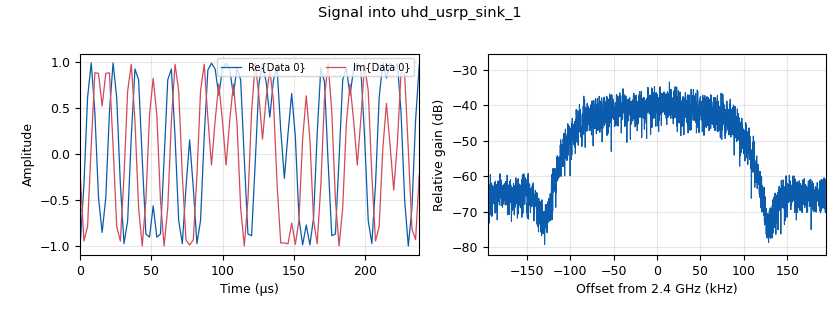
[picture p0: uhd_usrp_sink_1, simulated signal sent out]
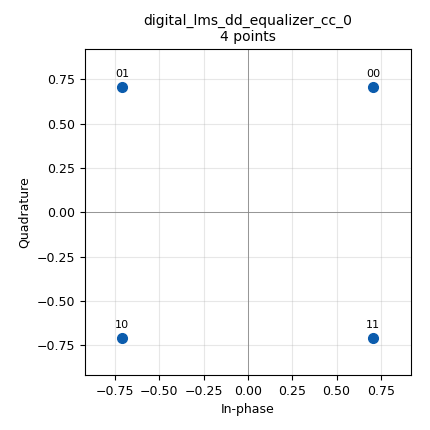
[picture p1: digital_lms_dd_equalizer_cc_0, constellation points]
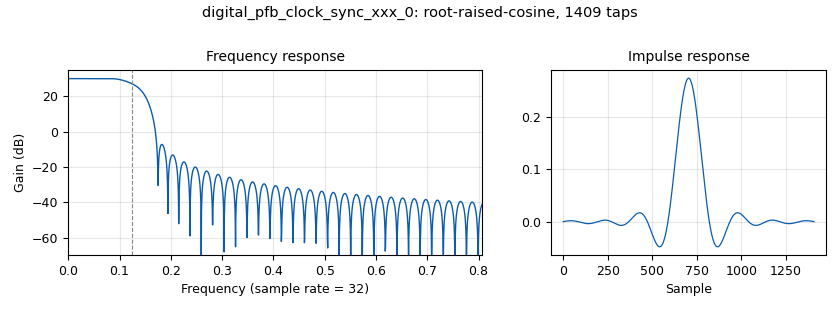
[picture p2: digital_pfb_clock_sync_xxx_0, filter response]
<?xml version='1.0' encoding='utf-8'?>
<flow_graph>
<block>
<key>options</key>
<param><key>id</key><value>cr_application</value></param>
<param><key>generate_options</key><value>qt_gui</value></param>
<param><key>category</key><value>Custom</value></param>
</block>
<block>
<key>variable</key>
<param><key>id</key><value>samp_rate</value></param>
<param><key>value</key><value>390625</value></param>
</block>
<block>
<key>variable</key>
<param><key>id</key><value>phase_bw</value></param>
<param><key>value</key><value>6.28/100</value></param>
</block>
<block>
<key>variable</key>
<param><key>id</key><value>sps</value></param>
<param><key>value</key><value>4</value></param>
</block>
<block>
<key>variable</key>
<param><key>id</key><value>excess_bw</value></param>
<param><key>value</key><value>0.35</value></param>
</block>
<block>
<key>variable</key>
<param><key>id</key><value>timing_loop_bw</value></param>
<param><key>value</key><value>6.28/100</value></param>
</block>
<block>
<key>variable</key>
<param><key>id</key><value>rrc_taps</value></param>
<param><key>value</key><value>firdes.root_raised_cosine(nfilts, nfilts, 1.0/float(sps), 0.35, 11*sps*nfilts)</value></param>
</block>
<block>
<key>variable</key>
<param><key>id</key><value>nfilts</value></param>
<param><key>value</key><value>32</value></param>
</block>
<block>
<key>variable</key>
<param><key>id</key><value>eq_gain</value></param>
<param><key>value</key><value>0.01</value></param>
</block>
<block>
<key>variable</key>
<param><key>id</key><value>arity</value></param>
<param><key>value</key><value>4</value></param>
</block>
<block>
<key>variable</key>
<param><key>id</key><value>taps</value></param>
<param><key>value</key><value>[1.0, 0.25-0.25j, 0.50 + 0.10j, -0.3 + 0.2j]</value></param>
</block>
<block>
<key>variable_constellation_rect</key>
<param><key>id</key><value>qpsk</value></param>
<param><key>value</key><value>"ok"</value></param>
<param><key>sym_map</key><value>[0, 1, 2, 3]</value></param>
<param><key>const_points</key><value>[0.707+0.707j, -0.707+0.707j, -0.707-0.707j, 0.707-0.707j]</value></param>
<param><key>rot_sym</key><value>4</value></param>
<param><key>real_sect</key><value>2</value></param>
<param><key>imag_sect</key><value>2</value></param>
<param><key>w_real_sect</key><value>1</value></param>
<param><key>w_imag_sect</key><value>1</value></param>
<param><key>softbits_lut</key><value>None</value></param>
</block>
<block>
<key>digital_costas_loop_cc</key>
<param><key>id</key><value>digital_costas_loop_cc_0</value></param>
<param><key>w</key><value>phase_bw</value></param>
<param><key>order</key><value>arity</value></param>
</block>
<block>
<key>digital_lms_dd_equalizer_cc</key>
<param><key>id</key><value>digital_lms_dd_equalizer_cc_0</value></param>
<param><key>mu</key><value>0.02</value></param>
<param><key>num_taps</key><value>20</value></param>
<param><key>sps</key><value>2</value></param>
<param><key>cnst</key><value>qpsk</value></param>
</block>
<block>
<key>digital_constellation_modulator</key>
<param><key>id</key><value>digital_constellation_modulator_0</value></param>
<param><key>constellation</key><value>qpsk</value></param>
<param><key>differential</key><value>True</value></param>
<param><key>samples_per_symbol</key><value>4</value></param>
<param><key>excess_bw</key><value>0.35</value></param>
</block>
<block>
<key>blocks_vector_source_x</key>
<param><key>id</key><value>blocks_vector_source_x_0_0</value></param>
<param><key>type</key><value>byte</value></param>
<param><key>vector</key><value>(170,170)</value></param>
<param><key>repeat</key><value>True</value></param>
</block>
<block>
<key>uhd_usrp_sink</key>
<param><key>id</key><value>uhd_usrp_sink_0</value></param>
<param><key>type</key><value>fc32</value></param>
<param><key>dev_addr</key><value>addr=192.168.20.2</value></param>
<param><key>sync</key><value></value></param>
<param><key>clock_rate</key><value>0.0</value></param>
<param><key>samp_rate</key><value>samp_rate</value></param>
<param><key>center_freq0</key><value>usrp_rf_freq</value></param>
<param><key>gain0</key><value>10</value></param>
<param><key>ant0</key><value></value></param>
</block>
<block>
<key>blocks_unpack_k_bits_bb</key>
<param><key>id</key><value>blocks_unpack_k_bits_bb_0_0</value></param>
<param><key>k</key><value>8</value></param>
</block>
<block>
<key>digital_constellation_receiver_cb</key>
<param><key>id</key><value>digital_constellation_receiver_cb_0</value></param>
<param><key>constellation</key><value>qpsk</value></param>
<param><key>loop_bw</key><value>timing_loop_bw</value></param>
<param><key>fmin</key><value>0.0001</value></param>
<param><key>fmax</key><value>0.0002</value></param>
</block>
<block>
<key>variable_qtgui_range</key>
<param><key>id</key><value>usrp_int_freq</value></param>
<param><key>value</key><value>2400000000</value></param>
<param><key>start</key><value>2400000000</value></param>
<param><key>stop</key><value>2480000000</value></param>
<param><key>step</key><value>5000000</value></param>
<param><key>orient</key><value>Qt.Horizontal</value></param>
<param><key>min_len</key><value>100</value></param>
</block>
<block>
<key>digital_pfb_clock_sync_xxx</key>
<param><key>id</key><value>digital_pfb_clock_sync_xxx_0</value></param>
<param><key>type</key><value>ccf</value></param>
<param><key>sps</key><value>sps</value></param>
<param><key>loop_bw</key><value>timing_loop_bw</value></param>
<param><key>taps</key><value>rrc_taps</value></param>
<param><key>filter_size</key><value>nfilts</value></param>
<param><key>init_phase</key><value>nfilts/2</value></param>
<param><key>max_dev</key><value>1.5</value></param>
<param><key>osps</key><value>2</value></param>
</block>
<block>
<key>uhd_usrp_source</key>
<param><key>id</key><value>uhd_usrp_source_0_0</value></param>
<param><key>type</key><value>fc32</value></param>
<param><key>dev_addr</key><value>addr=192.168.30.2</value></param>
<param><key>sync</key><value></value></param>
<param><key>clock_rate</key><value>0.0</value></param>
<param><key>samp_rate</key><value>samp_rate</value></param>
<param><key>center_freq0</key><value>usrp_rf_freq</value></param>
<param><key>gain0</key><value>10</value></param>
<param><key>ant0</key><value></value></param>
</block>
<block>
<key>variable_function_probe</key>
<param><key>id</key><value>usrp_rf_freq</value></param>
<param><key>value</key><value>2405000000</value></param>
<param><key>block_id</key><value>crew_db_channel_selector_0</value></param>
<param><key>function_name</key><value>get_freq</value></param>
<param><key>poll_rate</key><value>0.2</value></param>
</block>
<block>
<key>digital_map_bb</key>
<param><key>id</key><value>digital_map_bb_0</value></param>
<param><key>map</key><value>[0,1,2,3]</value></param>
</block>
<block>
<key>digital_diff_decoder_bb</key>
<param><key>id</key><value>digital_diff_decoder_bb_0</value></param>
<param><key>modulus</key><value>4</value></param>
</block>
<block>
<key>blocks_unpack_k_bits_bb</key>
<param><key>id</key><value>blocks_unpack_k_bits_bb_0</value></param>
<param><key>k</key><value>2</value></param>
</block>
<block>
<key>analog_random_source_x</key>
<param><key>id</key><value>analog_random_source_x_1</value></param>
<param><key>type</key><value>byte</value></param>
<param><key>min</key><value>0</value></param>
<param><key>max</key><value>256</value></param>
<param><key>num_samps</key><value>1000</value></param>
<param><key>repeat</key><value>True</value></param>
</block>
<block>
<key>digital_gfsk_mod</key>
<param><key>id</key><value>digital_gfsk_mod_0</value></param>
<param><key>samples_per_symbol</key><value>2</value></param>
<param><key>sensitivity</key><value>1.0</value></param>
<param><key>bt</key><value>0.35</value></param>
</block>
<block>
<key>uhd_usrp_sink</key>
<param><key>id</key><value>uhd_usrp_sink_1</value></param>
<param><key>type</key><value>fc32</value></param>
<param><key>stream_args</key><value>addr=192.168.40.2</value></param>
<param><key>sync</key><value></value></param>
<param><key>clock_rate</key><value>0.0</value></param>
<param><key>samp_rate</key><value>samp_rate</value></param>
<param><key>center_freq0</key><value>usrp_int_freq</value></param>
<param><key>gain0</key><value>40</value></param>
<param><key>ant0</key><value></value></param>
</block>
<block>
<key>blks2_error_rate</key>
<param><key>id</key><value>blks2_error_rate_0</value></param>
<param><key>type</key><value>'BER'</value></param>
<param><key>win_size</key><value>1000</value></param>
<param><key>bits_per_symbol</key><value>1</value></param>
</block>
<block>
<key>crew_db_channel_selector</key>
<param><key>id</key><value>crew_db_channel_selector_0</value></param>
<param><key>dbname</key><value>'test_may14_r1'</value></param>
<param><key>standard</key><value>'zigbee'</value></param>
<param><key>detmode</key><value>'max'</value></param>
<param><key>berthr</key><value>0.05</value></param>
</block>
<block>
<key>qtgui_time_sink_x</key>
<param><key>id</key><value>qtgui_time_sink_x_0</value></param>
<param><key>type</key><value>float</value></param>
<param><key>name</key><value>"BER"</value></param>
<param><key>size</key><value>1024</value></param>
<param><key>srate</key><value>samp_rate/2</value></param>
<param><key>tr_tag</key><value>"BER"</value></param>
</block>
<connection><source_block_id>digital_constellation_modulator_0</source_block_id><sink_block_id>uhd_usrp_sink_0</sink_block_id><source_key>0</source_key><sink_key>0</sink_key></connection>
<connection><source_block_id>blocks_vector_source_x_0_0</source_block_id><sink_block_id>digital_constellation_modulator_0</sink_block_id><source_key>0</source_key><sink_key>0</sink_key></connection>
<connection><source_block_id>uhd_usrp_source_0_0</source_block_id><sink_block_id>digital_pfb_clock_sync_xxx_0</sink_block_id><source_key>0</source_key><sink_key>0</sink_key></connection>
<connection><source_block_id>digital_costas_loop_cc_0</source_block_id><sink_block_id>digital_constellation_receiver_cb_0</sink_block_id><source_key>0</source_key><sink_key>0</sink_key></connection>
<connection><source_block_id>digital_map_bb_0</source_block_id><sink_block_id>digital_diff_decoder_bb_0</sink_block_id><source_key>0</source_key><sink_key>0</sink_key></connection>
<connection><source_block_id>digital_diff_decoder_bb_0</source_block_id><sink_block_id>blocks_unpack_k_bits_bb_0</sink_block_id><source_key>0</source_key><sink_key>0</sink_key></connection>
<connection><source_block_id>digital_lms_dd_equalizer_cc_0</source_block_id><sink_block_id>digital_costas_loop_cc_0</sink_block_id><source_key>0</source_key><sink_key>0</sink_key></connection>
<connection><source_block_id>digital_pfb_clock_sync_xxx_0</source_block_id><sink_block_id>digital_lms_dd_equalizer_cc_0</sink_block_id><source_key>0</source_key><sink_key>0</sink_key></connection>
<connection><source_block_id>blks2_error_rate_0</source_block_id><sink_block_id>qtgui_time_sink_x_0</sink_block_id><source_key>0</source_key><sink_key>0</sink_key></connection>
<connection><source_block_id>blocks_unpack_k_bits_bb_0</source_block_id><sink_block_id>blks2_error_rate_0</sink_block_id><source_key>0</source_key><sink_key>0</sink_key></connection>
<connection><source_block_id>blocks_unpack_k_bits_bb_0_0</source_block_id><sink_block_id>blks2_error_rate_0</sink_block_id><source_key>0</source_key><sink_key>1</sink_key></connection>
<connection><source_block_id>blocks_vector_source_x_0_0</source_block_id><sink_block_id>blocks_unpack_k_bits_bb_0_0</sink_block_id><source_key>0</source_key><sink_key>0</sink_key></connection>
<connection><source_block_id>analog_random_source_x_1</source_block_id><sink_block_id>digital_gfsk_mod_0</sink_block_id><source_key>0</source_key><sink_key>0</sink_key></connection>
<connection><source_block_id>digital_gfsk_mod_0</source_block_id><sink_block_id>uhd_usrp_sink_1</sink_block_id><source_key>0</source_key><sink_key>0</sink_key></connection>
<connection><source_block_id>digital_constellation_receiver_cb_0</source_block_id><sink_block_id>digital_map_bb_0</sink_block_id><source_key>0</source_key><sink_key>0</sink_key></connection>
<connection><source_block_id>blks2_error_rate_0</source_block_id><sink_block_id>crew_db_channel_selector_0</sink_block_id><source_key>0</source_key><sink_key>0</sink_key></connection>
</flow_graph>
